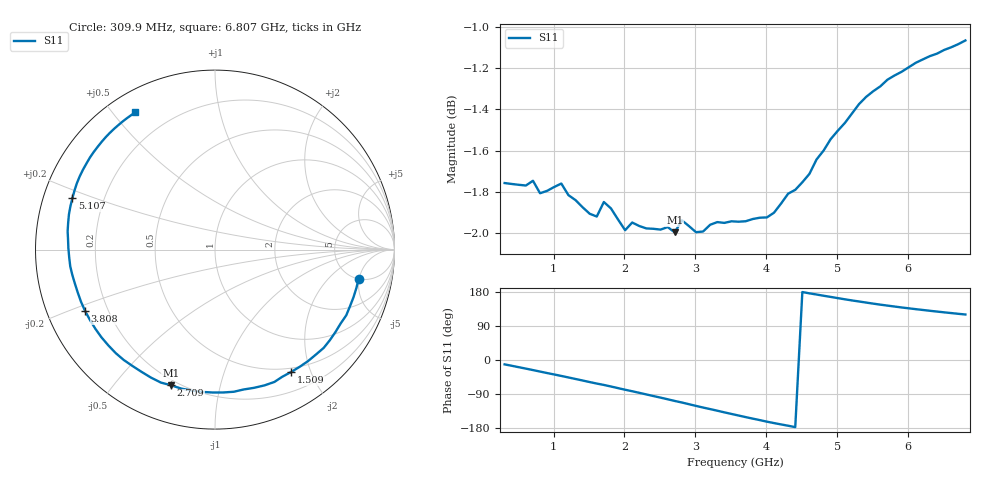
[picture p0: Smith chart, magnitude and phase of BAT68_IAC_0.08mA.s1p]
! Infineon Technologies  Discrete & RF Semiconductors
! BAT68
! IAC = 0.08 mA
! One-Port S-Parameters
# Hz  S  MA  R  50
!f  S11
!Hz  Mag  Ang
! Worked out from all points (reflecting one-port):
!   66 points, 309.9 MHz to 6.807 GHz, reference 50 ohm
!   lowest |S11| = -2.0 dB at 2.709 GHz (marker M1), VSWR 8.73, Z = 8.68 - j35.6 ohm
!   phase of S11 starts at -12 deg and turns -228 deg over the sweep
!   S11 on the Smith chart (normalised r, x): 309.9 MHz: 5.01, -4.91; 1.509 GHz: 0.45, -1.71; 2.709 GHz: 0.17, -0.71; 3.808 GHz: 0.12, -0.22; 5.107 GHz: 0.09, +0.17; 6.807 GHz: 0.08, +0.57
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3.0985e8  0.8168 -11.5
5.0975e8  0.816 -19.0
7.0965e8  0.8178 -26.6
1.0095e9  0.815 -38.2
1.2094e9  0.8113 -46.0
1.50925e9  0.8028 -58.2
1.70915e9  0.8081 -65.8
2.009e9  0.7955 -78.5
2.2089e9  0.7974 -86.7
2.4088e9  0.7961 -95.2
2.6087e9  0.7969 -103.6
2.70865e9  0.7945 -108.1
2.8086e9  0.7999 -112.1
3.0085e9  0.7946 -121.1
3.2084e9  0.7979 -129.6
3.4083e9  0.7987 -138.2
3.6082e9  0.7993 -146.5
3.8081e9  0.8005 -154.7
4.10795e9  0.8033 -166.4
4.4078e9  0.8137 -177.2
4.70765e9  0.8276 172.8
4.90755e9  0.8371 166.5
5.10745e9  0.8447 160.1
5.2074e9  0.8492 157.2
5.6072e9  0.8622 146.1
6.007e9  0.8714 136.4
6.4068e9  0.8781 127.8
6.8066e9  0.8846 120.1
